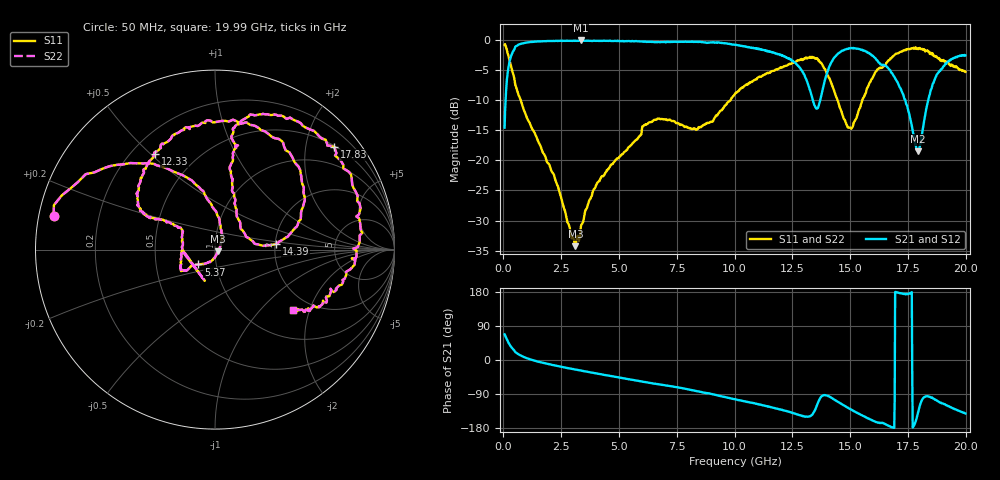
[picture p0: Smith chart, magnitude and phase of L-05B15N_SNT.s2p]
! Data Taken on a HP 8720C VNA using a shunt-through fixture with TRL* de-embedding
#	mhz	s	ma	r	50
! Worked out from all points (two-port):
!   998 points, 50 MHz to 19.99 GHz, reference 50 ohm
!   highest |S21| = 0.00 dB at 3.35 GHz (marker M1); lowest = -18.5 dB at 17.95 GHz (marker M2)
!   |S21| within 3 dB of the highest: 300.3 MHz to 12.34 GHz (12.04 GHz wide, 190 % of centre); 14.29 GHz to 16.1 GHz (1.813 GHz wide, 11.9 % of centre) (the widest 2 of 3)
!   lowest |S11| = -34.3 dB at 3.11 GHz (marker M3), VSWR 1.04, Z = 51.8 - j0.877 ohm
!   |S11| at or under -10 dB: 752.4 MHz to 9.819 GHz (9.067 GHz wide, 172 % of centre); 14.46 GHz to 15.53 GHz (1.066 GHz wide, 7.11 % of centre)
!   |S22| runs from -34.3 to -0.6 dB; largest |S21 - S12| = 0
!   S11 on the Smith chart (normalised r, x): 50 MHz: 0.04, +0.10; 5.37 GHz: 0.82, -0.14; 12.33 GHz: 0.29, +0.52; 14.39 GHz: 2.03, +0.15; 17.83 GHz: 0.53, +2.60; 19.99 GHz: 1.62, -1.55
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50  0.9181 168.3  0.1877 67.7  0.1877 67.7  0.9181 168.3
270  0.6753 134.4  0.6779 40.1  0.6779 40.1  0.6753 134.4
730  0.3254 100.8  0.933 12.3  0.933 12.3  0.3254 100.8
3110  0.01933 -26.0  0.9948 -25.2  0.9948 -25.2  0.01933 -26.0
3350  0.0281 -70.0  0.9995 -27.7  0.9995 -27.7  0.0281 -70.0
3390  0.02947 -71.9  0.9922 -28.4  0.9922 -28.4  0.02947 -71.9
5370  0.1242 -138.3  0.9875 -50.1  0.9875 -50.1  0.1242 -138.3
6710  0.2237 -147.8  0.97 -63.9  0.97 -63.9  0.2237 -147.8
8350  0.1804 172.0  0.9744 -81.7  0.9744 -81.7  0.1804 172.0
10030  0.3594 151.5  0.9186 -103.7  0.9186 -103.7  0.3594 151.5
12330  0.6301 122.1  0.7116 -136.4  0.7116 -136.4  0.6301 122.1
13350  0.7305 76.2  0.3395 -145.0  0.3395 -145.0  0.7305 76.2
13830  0.6095 37.2  0.403 -93.4  0.403 -93.4  0.6095 37.2
14390  0.342 5.4  0.746 -107.3  0.746 -107.3  0.342 5.4
15050  0.1837 38.2  0.8667 -131.2  0.8667 -131.2  0.1837 38.2
15750  0.4054 75.8  0.7906 -153.5  0.7906 -153.5  0.4054 75.8
16670  0.6853 81.5  0.5819 -173.8  0.5819 -173.8  0.6853 81.5
17310  0.8252 65.5  0.3494 174.6  0.3494 174.6  0.8252 65.5
17830  0.8769 40.7  0.1358 -162.8  0.1358 -162.8  0.8769 40.7
17950  0.8459 32.3  0.1194 -137.0  0.1194 -137.0  0.8459 32.3
18750  0.7327 -15.5  0.5188 -106.8  0.5188 -106.8  0.7327 -15.5
19990  0.5482 -37.6  0.7502 -141.0  0.7502 -141.0  0.5482 -37.6
